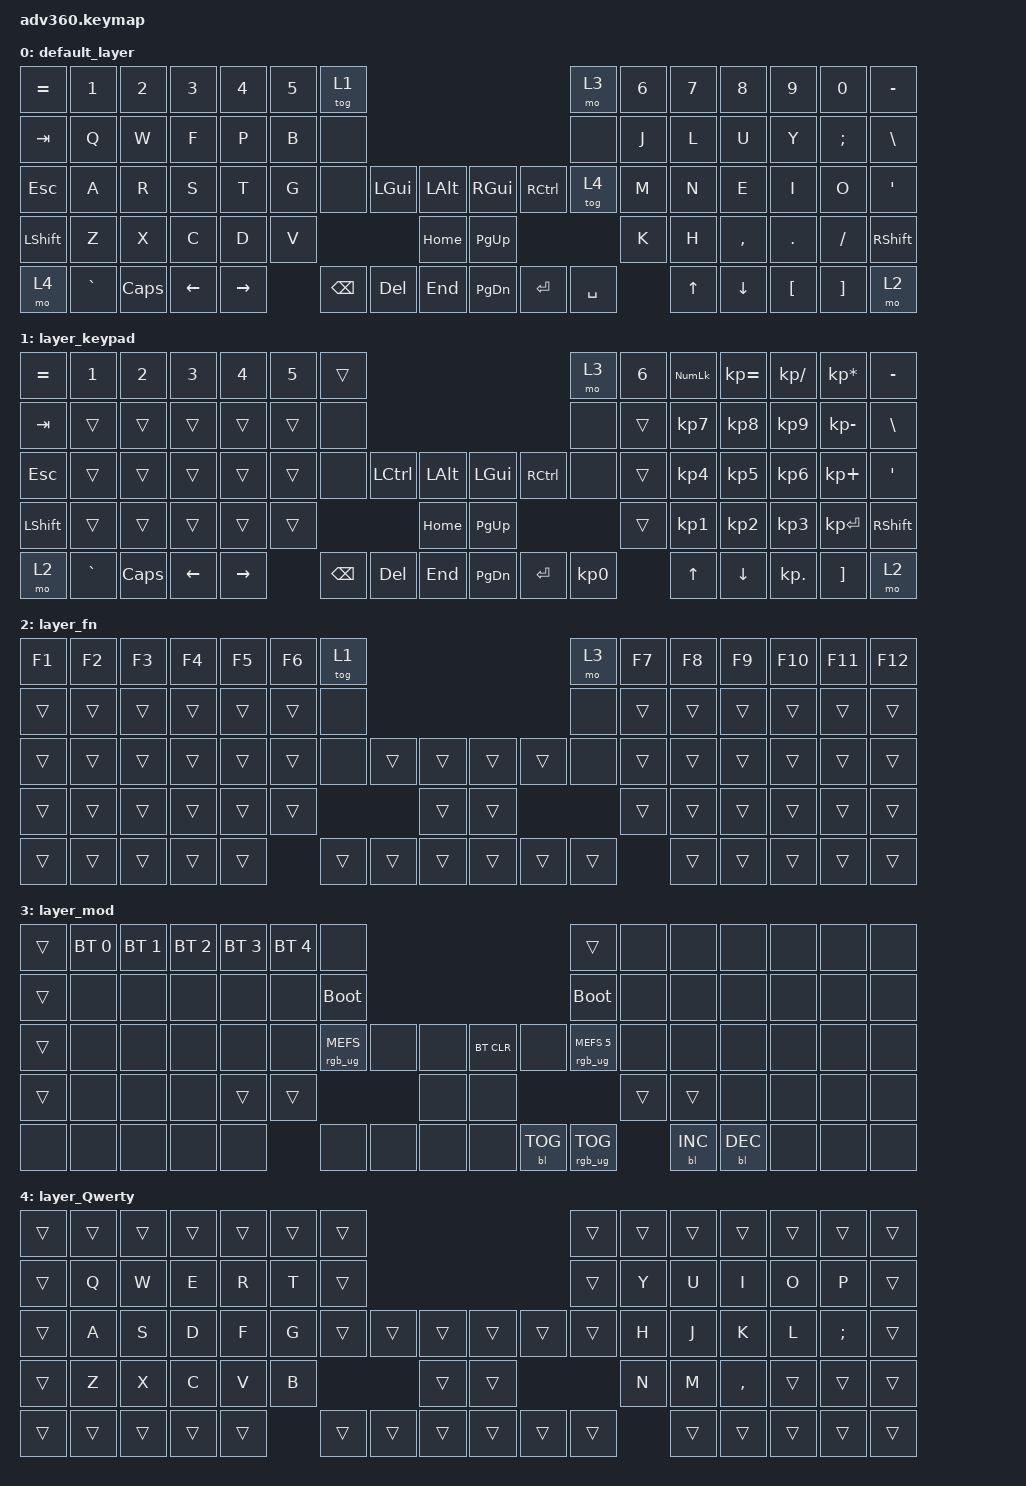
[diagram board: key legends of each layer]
/*
 * Copyright (c) 2020 The ZMK Contributors
 *
 * SPDX-License-Identifier: MIT
 */
/* THIS FILE WAS GENERATED!
 *
 * This file was generated automatically. You may or may not want to
 * edit it directly.
 */

#include <behaviors.dtsi>
#include <dt-bindings/zmk/backlight.h>
#include <dt-bindings/zmk/bt.h>
#include <dt-bindings/zmk/keys.h>
#include <dt-bindings/zmk/rgb.h>

/ {
    behaviors {
        #include "macros.dtsi"
    #include "version.dtsi"

        hm: homerow_mods {
            compatible = "zmk,behavior-hold-tap";
            label = "HOMEROW_MODS";
            #binding-cells = <2>;
            tapping-term-ms = <200>;
            quick_tap_ms = <175>;
            flavor = "tap-preferred";
            bindings = <&kp>, <&kp>;
        };
    };

    keymap {
        compatible = "zmk,keymap";

        default_layer {
            bindings = <
&kp EQUAL  &kp N1     &kp N2    &kp N3    &kp N4     &kp N5  &tog 1                                                  &mo 3      &kp N6  &kp N7  &kp N8     &kp N9    &kp N0    &kp MINUS
&kp TAB    &kp Q      &kp W     &kp F     &kp P      &kp B   &none                                                   &none      &kp J   &kp L   &kp U      &kp Y     &kp SEMI  &kp BSLH
&kp ESC    &kp A      &kp R     &kp S     &kp T      &kp G   &none     &kp LGUI  &kp LALT      &kp RGUI   &kp RCTRL  &tog 4     &kp M   &kp N   &kp E      &kp I     &kp O     &kp SQT
&kp LSHFT  &kp Z      &kp X     &kp C     &kp D      &kp V                       &kp HOME      &kp PG_UP                        &kp K   &kp H   &kp COMMA  &kp DOT   &kp FSLH  &kp RSHIFT
&mo 4      &kp GRAVE  &kp CAPS  &kp LEFT  &kp RIGHT          &kp BSPC  &kp DEL   &kp END       &kp PG_DN  &kp ENTER  &kp SPACE          &kp UP  &kp DOWN   &kp LBKT  &kp RBKT  &mo 2
            >;
        };

        layer_keypad {
            bindings = <
&kp EQUAL  &kp N1     &kp N2    &kp N3    &kp N4     &kp N5  &trans                                                   &mo 3      &kp N6  &kp KP_NUM  &kp KP_EQUAL  &kp KP_DIVIDE  &kp KP_MULTIPLY  &kp MINUS
&kp TAB    &trans     &trans    &trans    &trans     &trans  &none                                                    &none      &trans  &kp KP_N7   &kp KP_N8     &kp KP_N9      &kp KP_MINUS     &kp BSLH
&kp ESC    &trans     &trans    &trans    &trans     &trans  &none     &kp LCTRL  &kp LALT      &kp LGUI   &kp RCTRL  &none      &trans  &kp KP_N4   &kp KP_N5     &kp KP_N6      &kp KP_PLUS      &kp SQT
&kp LSHFT  &trans     &trans    &trans    &trans     &trans                       &kp HOME      &kp PG_UP                        &trans  &kp KP_N1   &kp KP_N2     &kp KP_N3      &kp KP_ENTER     &kp RSHFT
&mo 2      &kp GRAVE  &kp CAPS  &kp LEFT  &kp RIGHT          &kp BSPC  &kp DEL    &kp END       &kp PG_DN  &kp ENTER  &kp KP_N0          &kp UP      &kp DOWN      &kp KP_DOT     &kp RBKT         &mo 2
            >;
        };

        layer_fn {
            bindings = <
&kp F1  &kp F2  &kp F3  &kp F4  &kp F5  &kp F6  &tog 1                                      &mo 3   &kp F7  &kp F8  &kp F9  &kp F10  &kp F11  &kp F12
&trans  &trans  &trans  &trans  &trans  &trans  &none                                       &none   &trans  &trans  &trans  &trans   &trans   &trans
&trans  &trans  &trans  &trans  &trans  &trans  &none   &trans  &trans      &trans  &trans  &none   &trans  &trans  &trans  &trans   &trans   &trans
&trans  &trans  &trans  &trans  &trans  &trans                  &trans      &trans                  &trans  &trans  &trans  &trans   &trans   &trans
&trans  &trans  &trans  &trans  &trans          &trans  &trans  &trans      &trans  &trans  &trans          &trans  &trans  &trans   &trans   &trans
            >;
        };

        layer_mod {
            bindings = <
&trans  &bt BT_SEL 0  &bt BT_SEL 1  &bt BT_SEL 2  &bt BT_SEL 3  &bt BT_SEL 4  &none                                                           &trans                  &none   &none       &none       &none  &none  &none
&trans  &none         &none         &none         &none         &none         &bootloader                                                     &bootloader             &none   &none       &none       &none  &none  &none
&trans  &none         &none         &none         &none         &none         &rgb_ug RGB_MEFS_CMD  &none  &none      &bt BT_CLR  &none       &rgb_ug RGB_MEFS_CMD 5  &none   &none       &none       &none  &none  &none
&trans  &none         &none         &none         &trans        &trans                                     &none      &none                                           &trans  &trans      &none       &none  &none  &none
&none   &none         &none         &none         &none                       &none                 &none  &none      &none       &bl BL_TOG  &rgb_ug RGB_TOG                 &bl BL_INC  &bl BL_DEC  &none  &none  &none
            >;
        };

        layer_Qwerty {
            bindings = <
&trans  &trans  &trans  &trans  &trans  &trans  &trans                                      &trans  &trans  &trans  &trans     &trans  &trans    &trans
&trans  &kp Q   &kp W   &kp E   &kp R   &kp T   &trans                                      &trans  &kp Y   &kp U   &kp I      &kp O   &kp P     &trans
&trans  &kp A   &kp S   &kp D   &kp F   &kp G   &trans  &trans  &trans      &trans  &trans  &trans  &kp H   &kp J   &kp K      &kp L   &kp SEMI  &trans
&trans  &kp Z   &kp X   &kp C   &kp V   &kp B                   &trans      &trans                  &kp N   &kp M   &kp COMMA  &trans  &trans    &trans
&trans  &trans  &trans  &trans  &trans          &trans  &trans  &trans      &trans  &trans  &trans          &trans  &trans     &trans  &trans    &trans
            >;
        };
    };
};
